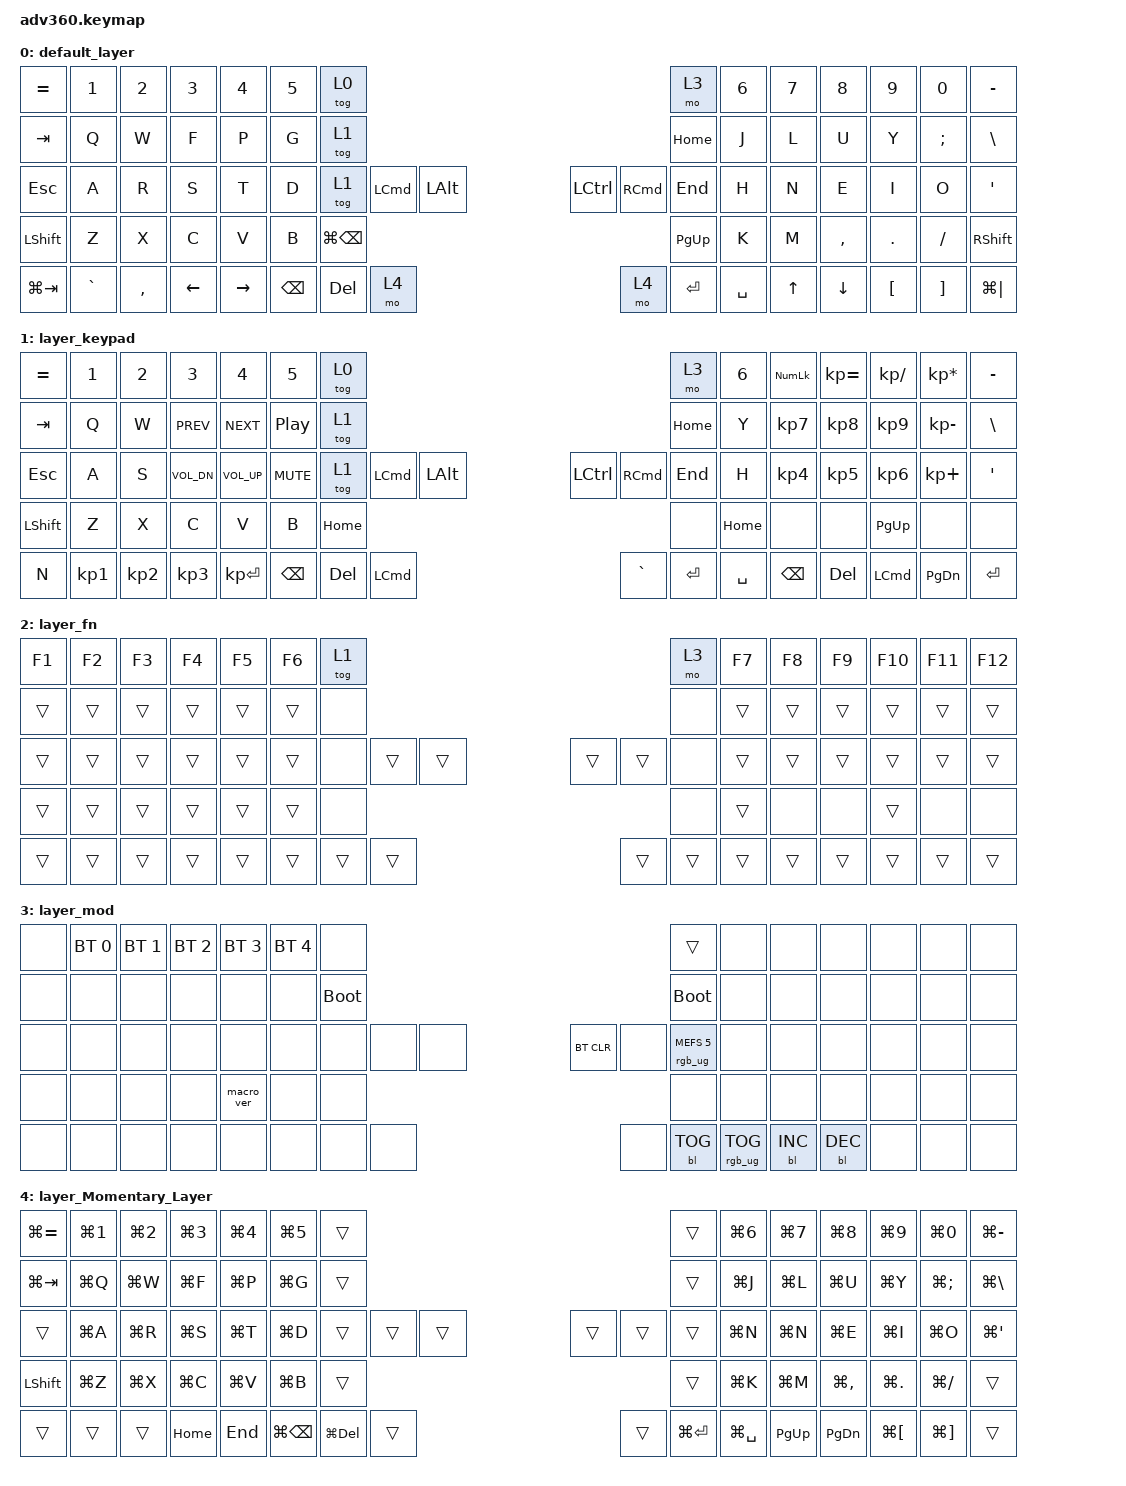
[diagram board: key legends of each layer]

/*
 * Copyright (c) 2020 The ZMK Contributors
 *
 * SPDX-License-Identifier: MIT
 */


/* THIS FILE WAS GENERATED!
 *
 * This file was generated automatically. You may or may not want to
 * edit it directly.
 */

#include <behaviors.dtsi>
#include <dt-bindings/zmk/keys.h>
#include <dt-bindings/zmk/bt.h>
#include <dt-bindings/zmk/rgb.h>
#include <dt-bindings/zmk/backlight.h>

/ {
  behaviors {
    #include "macros.dtsi"
    #include "version.dtsi"

    hm: homerow_mods {
        compatible = "zmk,behavior-hold-tap";
        label = "HOMEROW_MODS";
        #binding-cells = <2>;
        tapping-term-ms = <200>;
        quick_tap_ms = <175>;
        flavor = "tap-preferred";
        bindings = <&kp>, <&kp>;
    };
  };

    keymap {
        compatible = "zmk,keymap";


        default_layer {
            bindings = <
   &kp EQUAL     &kp N1     &kp N2    &kp N3     &kp N4  &kp N5              &tog 0                                                                                                &mo 3  &kp N6  &kp N7     &kp N8            &kp N9             &kp N0        &kp MINUS
     &kp TAB      &kp Q      &kp W     &kp F      &kp P   &kp G              &tog 1                                                                                             &kp HOME   &kp J   &kp L      &kp U             &kp Y      &kp SEMICOLON         &kp BSLH
     &kp ESC      &kp A      &kp R     &kp S      &kp T   &kp D              &tog 1  &kp LEFT_COMMAND           &kp LALT                  &kp LEFT_CONTROL  &kp RIGHT_COMMAND    &kp END   &kp H   &kp N      &kp E             &kp I              &kp O          &kp SQT
   &kp LSHFT      &kp Z      &kp X     &kp C      &kp V   &kp B                                        &kp LG(BACKSPACE)                       &kp PAGE_UP                                 &kp K   &kp M  &kp COMMA        &kp PERIOD          &kp SLASH  &kp RIGHT_SHIFT
 &kp LG(TAB)  &kp GRAVE  &kp COMMA  &kp LEFT  &kp RIGHT                    &kp BSPC           &kp DEL              &mo 4                             &mo 4          &kp ENTER  &kp SPACE          &kp UP   &kp DOWN  &kp LEFT_BRACKET  &kp RIGHT_BRACKET     &kp LG(PIPE)
            >;
        };

        layer_keypad {
            bindings = <
 &kp EQUAL     &kp N1     &kp N2        &kp N3        &kp N4            &kp N5              &tog 0                                                                                               &mo 3    &kp N6  &kp KP_NUM  &kp KP_EQUAL     &kp KP_DIVIDE  &kp KP_MULTIPLY  &kp MINUS
   &kp TAB      &kp Q      &kp W    &kp C_PREV    &kp C_NEXT  &kp C_PLAY_PAUSE              &tog 1                                                                                            &kp HOME     &kp Y   &kp KP_N7     &kp KP_N8         &kp KP_N9     &kp KP_MINUS   &kp BSLH
   &kp ESC      &kp A      &kp S  &kp C_VOL_DN  &kp C_VOL_UP        &kp C_MUTE              &tog 1  &kp LEFT_COMMAND          &kp LALT                  &kp LEFT_CONTROL  &kp RIGHT_COMMAND    &kp END     &kp H   &kp KP_N4     &kp KP_N5         &kp KP_N6      &kp KP_PLUS    &kp SQT
 &kp LSHFT      &kp Z      &kp X         &kp C         &kp V             &kp B                                                &kp HOME                             &none                                &kp HOME       &none         &none         &kp PG_UP            &none      &none
     &kp N  &kp KP_N1  &kp KP_N2     &kp KP_N3  &kp KP_ENTER                              &kp BSPC           &kp DEL  &kp LEFT_COMMAND                         &kp GRAVE          &kp ENTER  &kp SPACE              &kp BSPC       &kp DEL  &kp LEFT_COMMAND        &kp PG_DN  &kp ENTER
            >;
        };

        layer_fn {
            bindings = <
 &kp F1  &kp F2  &kp F3  &kp F4  &kp F5  &kp F6            &tog 1                                                   &mo 3  &kp F7  &kp F8  &kp F9  &kp F10  &kp F11  &kp F12
 &trans  &trans  &trans  &trans  &trans  &trans             &none                                                   &none  &trans  &trans  &trans   &trans   &trans   &trans
 &trans  &trans  &trans  &trans  &trans  &trans             &none  &trans  &trans                  &trans  &trans   &none  &trans  &trans  &trans   &trans   &trans   &trans
 &trans  &trans  &trans  &trans  &trans  &trans                             &none                   &none                  &trans   &none   &none   &trans    &none    &none
 &trans  &trans  &trans  &trans  &trans                    &trans  &trans  &trans                  &trans  &trans  &trans          &trans  &trans   &trans   &trans   &trans
            >;
        };

        layer_mod {
            bindings = <
  &none  &bt BT_SEL 0  &bt BT_SEL 1  &bt BT_SEL 2  &bt BT_SEL 3  &bt BT_SEL 4                  &none                                                                          &trans   &none       &none       &none   &none   &none   &none
  &none         &none         &none         &none         &none         &none            &bootloader                                                                     &bootloader   &none       &none       &none   &none   &none   &none
  &none         &none         &none         &none         &none         &none                  &none   &none   &none                  &bt BT_CLR       &none  &rgb_ug RGB_MEFS_CMD 5   &none       &none       &none   &none   &none   &none
  &none         &none         &none         &none    &macro_ver         &none                                  &none                       &none                                       &none       &none       &none   &none   &none   &none
  &none         &none         &none         &none         &none                                &none   &none   &none                       &none  &bl BL_TOG         &rgb_ug RGB_TOG          &bl BL_INC  &bl BL_DEC   &none   &none   &none
            >;
        };

        layer_Momentary_Layer {
            bindings = <
  &kp LG(EQUAL)  &kp LG(NUMBER_1)  &kp LG(NUMBER_2)  &kp LG(NUMBER_3)  &kp LG(NUMBER_4)  &kp LG(NUMBER_5)                       &trans                                                                        &trans  &kp LG(NUMBER_6)  &kp LG(NUMBER_7)  &kp LG(NUMBER_8)      &kp LG(NUMBER_9)       &kp LG(NUMBER_0)         &kp LG(MINUS)
    &kp LG(TAB)         &kp LG(Q)         &kp LG(W)         &kp LG(F)         &kp LG(P)         &kp LG(G)                       &trans                                                                        &trans         &kp LG(J)         &kp LG(L)         &kp LG(U)             &kp LG(Y)      &kp LG(SEMICOLON)     &kp LG(BACKSLASH)
         &trans         &kp LG(A)         &kp LG(R)         &kp LG(S)         &kp LG(T)         &kp LG(D)                       &trans          &trans  &trans                  &trans         &trans         &trans         &kp LG(N)         &kp LG(N)         &kp LG(E)             &kp LG(I)              &kp LG(O)  &kp LG(SINGLE_QUOTE)
 &kp LEFT_SHIFT         &kp LG(Z)         &kp LG(X)         &kp LG(C)         &kp LG(V)         &kp LG(B)                                               &trans                  &trans                                       &kp LG(K)         &kp LG(M)     &kp LG(COMMA)        &kp LG(PERIOD)          &kp LG(SLASH)                &trans
         &trans            &trans            &trans          &kp HOME           &kp END                              &kp LG(BACKSPACE)  &kp LG(DELETE)  &trans                  &trans  &kp LG(ENTER)  &kp LG(SPACE)                         &kp PAGE_UP     &kp PAGE_DOWN  &kp LG(LEFT_BRACKET)  &kp LG(RIGHT_BRACKET)                &trans
            >;
        };

    };
};
